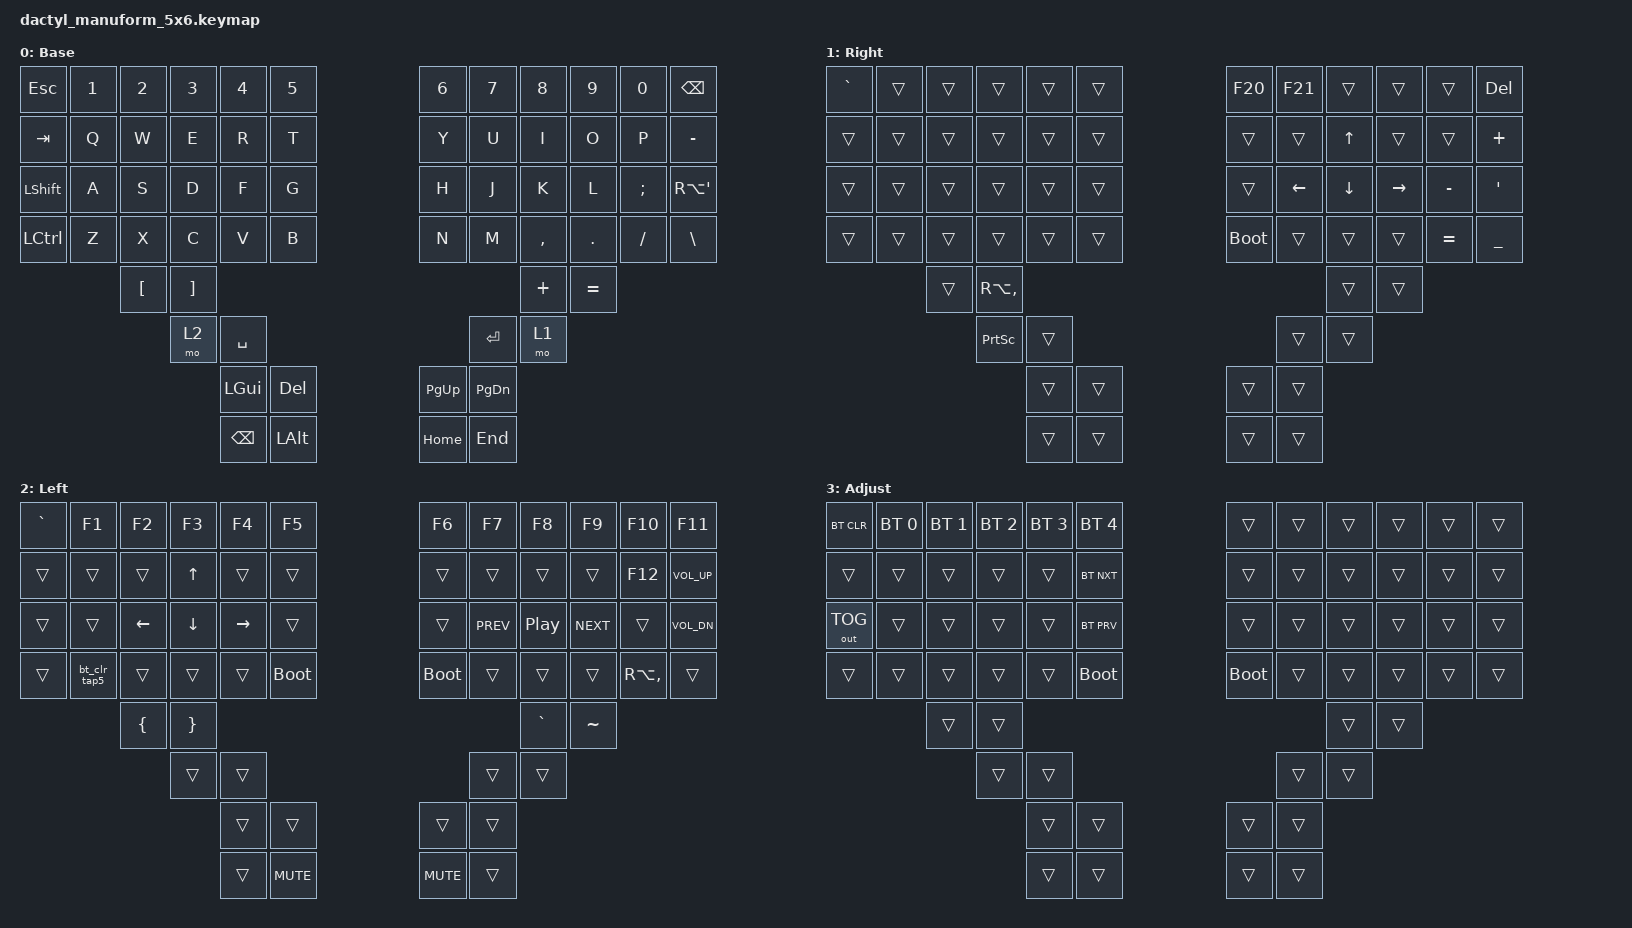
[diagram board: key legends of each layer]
/*
 * Copyright (c) 2025 The ZMK Contributors
 * SPDX-License-Identifier: MIT
 */

#include <behaviors.dtsi>
#include <dt-bindings/zmk/keys.h>
#include <dt-bindings/zmk/bt.h>
#include <dt-bindings/zmk/outputs.h>

/ {
    macros {
        // Macro to clear all BT bonds (takes 1 param but ignores it, for hold-tap compatibility)
        bt_clr_all: bt_clr_all {
            compatible = "zmk,behavior-macro-one-param";
            #binding-cells = <1>;
            wait-ms = <0>;
            tap-ms = <0>;
            bindings = <&bt BT_CLR_ALL>;
        };
        // No-op macro (takes 1 param but ignores it, for hold-tap compatibility)
        none_macro: none_macro {
            compatible = "zmk,behavior-macro-one-param";
            #binding-cells = <1>;
            wait-ms = <0>;
            tap-ms = <0>;
            bindings = <&none>;
        };
    };

    behaviors {
        // Hold for 5 seconds to clear all BT bonds - prevents accidental triggers
        bt_clr_hold: bt_clr_hold {
            compatible = "zmk,behavior-hold-tap";
            #binding-cells = <2>;
            flavor = "hold-preferred";
            tapping-term-ms = <5000>;
            bindings = <&bt_clr_all>, <&none_macro>;
        };

        // Tap 5 times to clear all BT bonds - for left-half-only access
        bt_clr_tap5: bt_clr_tap5 {
            compatible = "zmk,behavior-tap-dance";
            #binding-cells = <0>;
            tapping-term-ms = <300>;
            bindings = <&none>, <&none>, <&none>, <&none>, <&bt BT_CLR_ALL>;
        };
    };

    conditional_layers {
        compatible = "zmk,conditional-layers";
        tri_layer {
            if-layers = <1 2>;
            then-layer = <3>;
        };
    };

    keymap {
        compatible = "zmk,keymap";

        base {
            display-name = "Base";
            // -----------------------------------------------------------------------------------------
            // |  ESC |  1  |  2  |  3  |  4  |  5  |            |  6  |  7  |  8  |  9  |  0  | BSPC |
            // |  TAB |  Q  |  W  |  E  |  R  |  T  |            |  Y  |  U  |  I  |  O  |  P  |  -   |
            // | SHFT |  A  |  S  |  D  |  F  |  G  |            |  H  |  J  |  K  |  L  |  ;  |  á   |
            // | CTRL |  Z  |  X  |  C  |  V  |  B  |            |  N  |  M  |  ,  |  .  |  /  |  \   |
            //                    |  [  |  ]  |                              |  +  |  =  |
            //                          | LEFT| SPC |            |ENTER|RIGHT|
            //                          |LGUI | DEL |            |PGUP |PGDN |
            //                          |BSPC |LALT |            |HOME | END |

            bindings = <
            &kp ESC   &kp N1   &kp N2   &kp N3    &kp N4    &kp N5                          &kp N6    &kp N7    &kp N8     &kp N9   &kp N0    &kp BSPC
            &kp TAB   &kp Q    &kp W    &kp E     &kp R     &kp T                           &kp Y     &kp U     &kp I      &kp O    &kp P     &kp MINUS
            &kp LSHFT &kp A    &kp S    &kp D     &kp F     &kp G                           &kp H     &kp J     &kp K      &kp L    &kp SEMI  &kp RA(SQT)
            &kp LCTRL &kp Z    &kp X    &kp C     &kp V     &kp B                           &kp N     &kp M     &kp COMMA  &kp DOT  &kp FSLH  &kp BSLH
                                        &kp LBKT  &kp RBKT                                            &kp PLUS  &kp EQUAL
                                                  &mo 2     &kp SPACE                                 &kp ENTER &mo 1
                                                  &kp LGUI  &kp DEL                                   &kp PG_UP &kp PG_DN
                                                  &kp BSPC  &kp LALT                                  &kp HOME  &kp END
            >;
        };

        right {
            display-name = "Right";
            // -----------------------------------------------------------------------------------------
            // |  `   |     |     |     |     |     |            | F20 | F21 |     |     |     | DEL  |
            // |      |     |     |     |     |     |            |     |     |  UP |     |     |  +   |
            // |      |     |     |     |     |     |            |     | LFT | DWN | RGT |  -  |  '   |
            // |      |     |     |     |     |     |            |BOOT |     |     |     |  =  |  _   |
            //                    |     |  ç  |                              |     |     |
            //                          |PSCR |     |            |     |     |
            //                          |     |     |            |     |     |
            //                          |     |     |            |     |     |

            bindings = <
            &kp GRAVE  &trans    &trans    &trans    &trans    &trans                          &kp F20         &kp F21   &trans     &trans     &trans    &kp DEL
            &trans     &trans    &trans    &trans    &trans    &trans                          &trans          &trans    &kp UP     &trans     &trans    &kp PLUS
            &trans     &trans    &trans    &trans    &trans    &trans                          &trans          &kp LEFT  &kp DOWN   &kp RIGHT  &kp MINUS &kp SQT
            &trans     &trans    &trans    &trans    &trans    &trans                          &bootloader     &trans    &trans     &trans     &kp EQUAL &kp UNDER
                                           &trans    &kp RA(COMMA)                                                       &trans     &trans
                                                     &kp PSCRN &trans                                 &trans       &trans
                                                     &trans    &trans                                 &trans       &trans
                                                     &trans    &trans                                 &trans       &trans
            >;
        };

        left {
            display-name = "Left";
            // -----------------------------------------------------------------------------------------
            // |  `   | F1  | F2  | F3  | F4  | F5  |            | F6  | F7  | F8  | F9  | F10 | F11  |
            // |      |     |     |  UP |     |     |            |     |     |     |     | F12 |VOL_UP|
            // |      |     | LFT | DWN | RGT |     |            |     |PREV |PLAY |NEXT |     |VOL_DN|
            // |      |BTCLR*|    |     |     |BOOT |            |BOOT |     |     |     |  ñ  |      |
            //                    |  {  |  }  |                              |  `  |  ~  |
            //                          |     |     |            |     |     |
            //                          |     |     |            |     |     |
            //                          |     |MUTE |            |MUTE |     |
            // *BTCLR = BT Clear All (tap Z 5 times with left thumb while holding LEFT layer)

            bindings = <
            &kp GRAVE  &kp F1 &kp F2   &kp F3   &kp F4    &kp F5                      &kp F6      &kp F7     &kp F8    &kp F9     &kp F10       &kp F11
            &trans     &trans &trans   &kp UP   &trans    &trans                      &trans     &trans    &trans     &trans   &kp F12  &kp C_VOL_UP
            &trans     &trans &kp LEFT &kp DOWN &kp RIGHT &trans                      &trans      &kp C_PREV &kp C_PP  &kp C_NEXT &trans        &kp C_VOL_DN
            &trans     &bt_clr_tap5 &trans   &trans   &trans    &bootloader                 &bootloader &trans     &trans    &trans     &kp RA(COMMA) &trans
                                                &kp LBRC  &kp RBRC                                            &kp GRAVE  &kp TILDE
                                                         &trans      &trans                      &trans       &trans
                                                         &trans      &trans                      &trans       &trans
                                                         &trans      &kp C_MUTE                  &kp C_MUTE   &trans
            >;
        };

        adjust {
            display-name = "Adjust";
            // -----------------------------------------------------------------------------------------
            // Activated when both LEFT and RIGHT layers are held simultaneously
            // |BT_CLR| BT1  | BT2  | BT3  | BT4  | BT5  |            |     |     |     |     |     |      |
            // |      |      |      |      |      |BTNXT |            |     |     |     |     |     |      |
            // |OUTTOG|      |      |      |      |BTPRV |            |     |     |     |     |     |      |
            // |      |      |      |      |      |BOOT  |            |BOOT |     |     |     |     |      |
            //                      |      |      |                              |     |     |
            //                            |      |      |            |     |     |
            //                            |      |      |            |     |     |
            //                            |      |      |            |     |     |

            bindings = <
            &bt BT_CLR    &bt BT_SEL 0  &bt BT_SEL 1  &bt BT_SEL 2  &bt BT_SEL 3  &bt BT_SEL 4                &trans       &trans  &trans  &trans  &trans  &trans
            &trans        &trans        &trans        &trans        &trans        &bt BT_NXT                  &trans       &trans  &trans  &trans  &trans  &trans
            &out OUT_TOG  &trans        &trans        &trans        &trans        &bt BT_PRV                  &trans       &trans  &trans  &trans  &trans  &trans
            &trans        &trans        &trans        &trans        &trans        &bootloader                 &bootloader  &trans  &trans  &trans  &trans  &trans
                                                      &trans        &trans                                                 &trans  &trans
                                                                    &trans        &trans                      &trans       &trans
                                                                    &trans        &trans                      &trans       &trans
                                                                    &trans        &trans                      &trans       &trans
            >;
        };
    };
};
